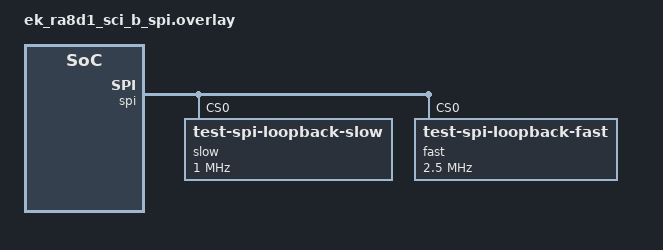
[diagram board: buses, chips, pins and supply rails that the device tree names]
/*
 * Copyright (c) 2025 Renesas Electronics Corporation
 * SPDX-License-Identifier: Apache-2.0
 */

&pinctrl {
	sci3_spi_default: sci3_spi_default {
		group1 {
			/* MISO MOSI SCK */
			psels = <RA_PSEL(RA_PSEL_SCI_3, 4, 8)>,
				<RA_PSEL(RA_PSEL_SCI_3, 4, 9)>,
				<RA_PSEL(RA_PSEL_SCI_3, 4, 10)>;
			drive-strength = "high";
		};
	};
};

&sci3 {
	pinctrl-0 = <&sci3_spi_default>;
	pinctrl-names = "default";

	spi {
		status = "okay";

		slow@0 {
			compatible = "test-spi-loopback-slow";
			reg = <0>;
			spi-max-frequency = <1000000>;
		};

		fast@0 {
			compatible = "test-spi-loopback-fast";
			reg = <0>;
			spi-max-frequency = <2500000>;
		};
	};

	uart {
		status = "disabled";
	};

	i2c {
		status = "disabled";
	};
};
